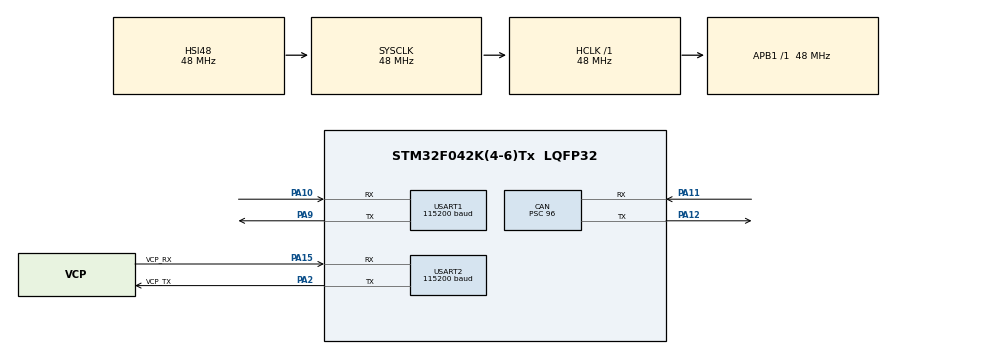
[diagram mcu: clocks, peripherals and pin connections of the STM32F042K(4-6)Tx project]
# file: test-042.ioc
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CAN.ABOM=ENABLE
CAN.AWUM=ENABLE
CAN.BS1=CAN_BS1_2TQ
CAN.CalculateBaudRate=125000
CAN.CalculateTimeBit=8000
CAN.CalculateTimeQuantum=2000.0
CAN.NART=ENABLE
CAN.Prescaler=96
CAN.RFLM=ENABLE
Mcu.Family=STM32F0
Mcu.Name=STM32F042K(4-6)Tx
Mcu.Package=LQFP32
NVIC.CEC_CAN_IRQn=true\:0\:0\:false\:false\:true\:true\:true\:true
NVIC.USART2_IRQn=true\:0\:0\:false\:false\:true\:true\:true\:true
PA10.Mode=Asynchronous
PA10.Signal=USART1_RX
PA11.Mode=CAN_Activate
PA11.Signal=CAN_RX
PA12.Mode=CAN_Activate
PA12.Signal=CAN_TX
PA13.GPIO_Label=SWDIO
PA13.Mode=Serial_Wire
PA13.Signal=SYS_SWDIO
PA14.GPIO_Label=SWCLK
PA14.Mode=Serial_Wire
PA14.Signal=SYS_SWCLK
PA15.GPIO_Label=VCP_RX
PA15.Mode=Asynchronous
PA15.Signal=USART2_RX
PA2.GPIO_Label=VCP_TX
PA2.Mode=Asynchronous
PA2.Signal=USART2_TX
PA9.Mode=Asynchronous
PA9.Signal=USART1_TX
PF0-OSC_IN.GPIO_Label=MCO
PF0-OSC_IN.Mode=HSE-External-Clock-Source
PF0-OSC_IN.Signal=RCC_OSC_IN
ProjectManager.HeapSize=0x200
ProjectManager.StackSize=0x400
ProjectManager.TargetToolchain=STM32CubeIDE
RCC.AHBFreq_Value=48000000
RCC.APB1Freq_Value=48000000
RCC.APB1TimFreq_Value=48000000
RCC.HCLKFreq_Value=48000000
RCC.PLLMUL=RCC_PLL_MUL6
RCC.SYSCLKFreq_VALUE=48000000
RCC.SYSCLKSource=RCC_SYSCLKSOURCE_HSI48
USART1.BaudRate=115200
USART1.VirtualMode-Asynchronous=VM_ASYNC
USART2.BaudRate=115200
USART2.OverSampling=UART_OVERSAMPLING_16
USART2.VirtualMode-Asynchronous=VM_ASYNC
board=NUCLEO-F042K6

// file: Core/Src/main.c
/* USER CODE BEGIN Header */
/**
 ******************************************************************************
 * @file           : main.c
 * @brief          : Main program body
 ******************************************************************************
 * @attention
 *
 * Copyright (c) 2022 STMicroelectronics.
 * All rights reserved.
 *
 * This software is licensed under terms that can be found in the LICENSE file
 * in the root directory of this software component.
 * If no LICENSE file comes with this software, it is provided AS-IS.
 *
 ******************************************************************************
 */
/* USER CODE END Header */
#include "main.h"
#include "can.h"
#include "usart.h"
#include "gpio.h"

/* USER CODE BEGIN Includes */
#include <string.h>
#include "print.h"
#include "slcan.h"
#include "ringbuffer.h"
/* USER CODE END Includes */

/* USER CODE BEGIN PV */
static GPIO_InitTypeDef GPIO_InitStruct;

#define PRINT_BUFFER_SIZE 256
char printBuffer[PRINT_BUFFER_SIZE];
/* USER CODE END PV */

void SystemClock_Config(void);

/* USER CODE BEGIN 0 */
#define PRINT_BUFFER_LEN 512
char __print_buffer[PRINT_BUFFER_LEN];
char __buffer[PRINT_BUFFER_LEN];

int __print_service(const char *str) {

    HAL_UART_Transmit(&huart1, (uint8_t*) str, strlen(str), 100);

    int error = 0;

//    uint32_t __buffer_len = strlen(__print_buffer) + strlen(str);
//    if(__buffer_len < PRINT_BUFFER_LEN){
//        strncat(__print_buffer, str, PRINT_BUFFER_LEN - __buffer_len);
//    }else{
//        error = -1;
//    }
//
//    HAL_UART_StateTypeDef state = HAL_UART_GetState(&huart1);
//    if(state & HAL_UART_STATE_READY){
//        strncpy(__buffer, __print_buffer, PRINT_BUFFER_LEN);
//        HAL_UART_Transmit_DMA(&huart1, (uint8_t*) __buffer, strlen(__buffer));
//        __print_buffer[0] = '\0';
//
//        error = 0;
//    }

    return error;
}

void HAL_UART_TxCpltCallback(UART_HandleTypeDef *huart)
{
  /* Turn LED3 on: Transfer in reception process is correct */
	BSP_LED_Toggle(LED3);
}

//-------------------------------------------------------------------------

#define MAX_BUFFER_LEN 128

char __in_buffer[MAX_BUFFER_LEN];
static uint32_t __index = 0;

int push(uint8_t byte){

    __in_buffer[__index++] = byte;
    if(__index < MAX_BUFFER_LEN) {
        return __index;
    }else{
        return -1;
    }
}

const char* get_buffer(){
    return __in_buffer;
}

void flush_buffer(){
    __index = 0;
    memset(__in_buffer, 0, MAX_BUFFER_LEN);
}

//char* slcan_getline(void* arg)
//{
//    static char line_buffer[500];
//    static size_t pos = 0;
//    size_t i;
//    for (i = pos; i < sizeof(line_buffer); i++) {
//        int c = chnGetTimeout((BaseChannel*)arg, TIME_INFINITE);
//        if (c == STM_TIMEOUT) {
//            /* no more data, continue */
//            pos = i;
//            return NULL;
//        }
//        if (c == '\n' || c == '\r' || c == '\0') {
//            /* line found */
//            line_buffer[i] = 0;
//            pos = 0;
//            led_set(STATUS_LED); // show USB activity
//            return line_buffer;
//        } else {
//            line_buffer[i] = c;
//        }
//    }
//
//    /* reset */
//    pos = 0;
//    return NULL;
//}

char* get_line() {

    char* where = strchr(__in_buffer, '\r');
    if(where != NULL){
        return __in_buffer;
    } else {
        return NULL;
    }
}

ring_buffer_t uart_rx_ring_buffer;

uint8_t uart2_buffer[8];
volatile int global_error;

void HAL_UART_RxCpltCallback(UART_HandleTypeDef *huart)
{
    ring_buffer_queue(&uart_rx_ring_buffer, uart2_buffer[0]);
    if(HAL_OK != HAL_UART_Receive_IT(huart, uart2_buffer, 1)){
        global_error = 1;
    }
}

/* USER CODE END 0 */

int main(void)
{
  /* USER CODE BEGIN 1 */
	print_init(__print_service);

	/* Create and initialize ring buffer */
	ring_buffer_init(&uart_rx_ring_buffer);

  /* USER CODE END 1 */

  /* MCU Configuration--------------------------------------------------------*/

  /* Reset of all peripherals, Initializes the Flash interface and the Systick. */
  HAL_Init();

  /* Configure the system clock */
  SystemClock_Config();

  /* Initialize all configured peripherals */
  MX_GPIO_Init();
  MX_USART2_UART_Init();
  MX_CAN_Init();
  MX_USART1_UART_Init();
  /* USER CODE BEGIN 2 */
	LED3_GPIO_CLK_ENABLE();

	/* -2- Configure IO in output push-pull mode to drive external LEDs */
	GPIO_InitStruct.Mode = GPIO_MODE_OUTPUT_PP;
	GPIO_InitStruct.Pull = GPIO_PULLUP;
	GPIO_InitStruct.Speed = GPIO_SPEED_FREQ_HIGH;

	GPIO_InitStruct.Pin = LED3_PIN;
	HAL_GPIO_Init(LED3_GPIO_PORT, &GPIO_InitStruct);
	BSP_LED_Off(LED3);
  /* USER CODE END 2 */

  /* Infinite loop */
  /* USER CODE BEGIN WHILE */

    flush_buffer();

    println("Starting");

    HAL_UART_Receive_IT(&huart2, uart2_buffer, 2);
	while (1) {
	    char ch;
        if(0 < ring_buffer_dequeue(&uart_rx_ring_buffer, &ch)) {
            push(ch);
            char* line = get_line();

            if(line){
                BSP_LED_On(LED3);

                slcan_decode_line(line);
                HAL_UART_Transmit(&huart2, (uint8_t*)line, strlen(line), 10);
                flush_buffer();
                BSP_LED_Off(LED3);
            }
        }

        slcan_can_rx_process();

        if(can_state_checker() != HAL_OK){
            Error_Handler();
        }

//		HAL_Delay(100);

//		int pendingRequests = HAL_CAN_IsTxMessagePending(&hcan, TxMailbox);
//		if (pendingRequests == 0) {
//			TxHeader.DLC = 1;
//			TxHeader.StdId = 0x001;
//			TxHeader.IDE = CAN_ID_STD;
//			RxData[0] = 0xAA;
//			if (HAL_CAN_AddTxMessage(&hcan, &TxHeader, RxData, &TxMailbox)
//					!= HAL_OK) {
//				Error_Handler();
//			}
//		}

    /* USER CODE END WHILE */

	}
}

void SystemClock_Config(void)
{
  RCC_OscInitTypeDef RCC_OscInitStruct = {0};
  RCC_ClkInitTypeDef RCC_ClkInitStruct = {0};
  RCC_PeriphCLKInitTypeDef PeriphClkInit = {0};

  /** Initializes the RCC Oscillators according to the specified parameters
  * in the RCC_OscInitTypeDef structure.
  */
  RCC_OscInitStruct.OscillatorType = RCC_OSCILLATORTYPE_HSI48;
  RCC_OscInitStruct.HSI48State = RCC_HSI48_ON;
  RCC_OscInitStruct.PLL.PLLState = RCC_PLL_NONE;
  if (HAL_RCC_OscConfig(&RCC_OscInitStruct) != HAL_OK)
  {
    Error_Handler();
  }

  /** Initializes the CPU, AHB and APB buses clocks
  */
  RCC_ClkInitStruct.ClockType = RCC_CLOCKTYPE_HCLK|RCC_CLOCKTYPE_SYSCLK
                              |RCC_CLOCKTYPE_PCLK1;
  RCC_ClkInitStruct.SYSCLKSource = RCC_SYSCLKSOURCE_HSI48;
  RCC_ClkInitStruct.AHBCLKDivider = RCC_SYSCLK_DIV1;
  RCC_ClkInitStruct.APB1CLKDivider = RCC_HCLK_DIV1;

  if (HAL_RCC_ClockConfig(&RCC_ClkInitStruct, FLASH_LATENCY_1) != HAL_OK)
  {
    Error_Handler();
  }
  PeriphClkInit.PeriphClockSelection = RCC_PERIPHCLK_USART1;
  PeriphClkInit.Usart1ClockSelection = RCC_USART1CLKSOURCE_PCLK1;
  if (HAL_RCCEx_PeriphCLKConfig(&PeriphClkInit) != HAL_OK)
  {
    Error_Handler();
  }
}

void Error_Handler(void)
{
  /* USER CODE BEGIN Error_Handler_Debug */
	/* User can add his own implementation to report the HAL error return state */
	__disable_irq();
	println("Error_Handler!");
	while (1) {
	}
  /* USER CODE END Error_Handler_Debug */
}
